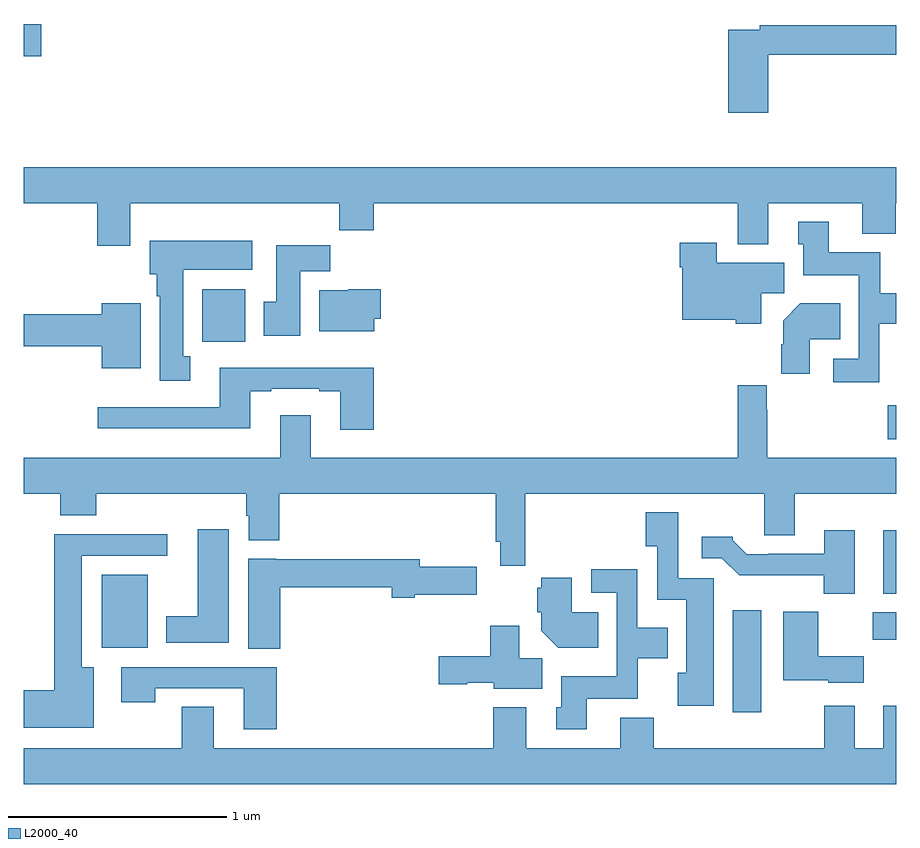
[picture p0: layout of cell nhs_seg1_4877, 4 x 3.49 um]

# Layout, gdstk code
import gdstk
lib = gdstk.Library(unit=1e-6, precision=1e-09)
def R(c, l, rs):  # rectangles x0, y0, x1, y1
    for r in rs: c.add(gdstk.rectangle(r[:2], r[2:], *l))
def P(c, l, *ps):  # polygons
    for p in ps: c.add(gdstk.Polygon(p, *l))
L2000_40 = (2000, 40)

nhs_seg1_4877 = lib.new_cell('nhs_seg1_4877')
R(nhs_seg1_4877, L2000_40, [(378.251,558.72,378.382,559.189), (375.356,559.016,375.568,559.351), (378.894,559.053,379,559.18), (378.941,559.265,379,559.555), (378.962,559.974,379,560.13), (375.818,560.42,376.015,560.662), (375,561.731,375.079,561.878)])
P(nhs_seg1_4877, L2000_40, [(378.413,561.736),(379,561.736),(379,561.872),(378.376,561.872),(378.376,561.852),(378.23,561.852),(378.23,561.471),(378.413,561.471)],
  [(375.487,561.056),(376.447,561.056),(376.447,560.932),(376.604,560.932),(376.604,561.056),(378.275,561.056),(378.275,560.867),(378.415,560.867),(378.415,561.056),(378.845,561.056),(378.845,560.915),(378.998,560.915),(378.998,561.056),(379,561.056),(379,561.22),(375,561.22),(375,561.056),(375.335,561.056),(375.335,560.862),(375.487,560.862)],
  [(378.924,560.504),(379,560.504),(379,560.644),(378.927,560.644),(378.927,560.83),(378.691,560.83),(378.691,560.971),(378.551,560.971),(378.551,560.868),(378.575,560.868),(378.575,560.726),(378.828,560.726),(378.828,560.343),(378.711,560.343),(378.711,560.235),(378.924,560.235)],
  [(375.763,560.354),(375.73,560.354),(375.73,560.75),(376.048,560.75),(376.048,560.884),(375.578,560.884),(375.578,560.73),(375.608,560.73),(375.608,560.63),(375.623,560.63),(375.623,560.241),(375.763,560.241)],
  [(378.382,560.644),(378.487,560.644),(378.487,560.782),(378.178,560.782),(378.178,560.875),(378.008,560.875),(378.008,560.762),(378.02,560.762),(378.02,560.522),(378.264,560.522),(378.264,560.504),(378.382,560.504)],
  [(376.267,560.744),(376.406,560.744),(376.406,560.863),(376.157,560.863),(376.157,560.604),(376.1,560.604),(376.1,560.448),(376.267,560.448)],
  [(376.606,560.526),(376.637,560.526),(376.637,560.662),(376.488,560.662),(376.488,560.656),(376.355,560.656),(376.355,560.468),(376.606,560.468)],
  [(378.604,560.432),(378.743,560.432),(378.743,560.596),(378.56,560.596),(378.482,560.518),(378.482,560.408),(378.473,560.408),(378.473,560.274),(378.604,560.274)],
  [(375.535,560.596),(375.356,560.596),(375.356,560.546),(375,560.546),(375,560.399),(375.356,560.399),(375.356,560.3),(375.535,560.3)],
  [(376.604,560.302),(375.899,560.302),(375.899,560.121),(375.339,560.121),(375.339,560.024),(376.039,560.024),(376.039,560.193),(376.135,560.193),(376.135,560.205),(376.355,560.205),(376.355,560.193),(376.451,560.193),(376.451,560.016),(376.604,560.016)],
  [(377.3,559.724),(378.395,559.724),(378.395,559.534),(378.535,559.534),(378.535,559.724),(379,559.724),(379,559.888),(378.41,559.888),(378.41,560.108),(378.406,560.108),(378.406,560.221),(378.274,560.221),(378.274,559.888),(376.315,559.888),(376.315,560.083),(376.175,560.083),(376.175,559.888),(375,559.888),(375,559.724),(375.167,559.724),(375.167,559.625),(375.332,559.625),(375.332,559.724),(376.019,559.724),(376.019,559.623),(376.031,559.623),(376.031,559.511),(376.172,559.511),(376.172,559.724),(377.164,559.724),(377.164,559.504),(377.184,559.504),(377.184,559.392),(377.3,559.392)],
  [(378.163,559.335),(378,559.335),(378,559.639),(377.852,559.639),(377.852,559.483),(377.904,559.483),(377.904,559.238),(378.038,559.238),(378.038,558.902),(377.999,558.902),(377.999,558.752),(378.163,558.752)],
  [(375.94,559.561),(375.797,559.561),(375.797,559.162),(375.653,559.162),(375.653,559.04),(375.94,559.04)],
  [(378.811,559.555),(378.671,559.555),(378.671,559.449),(378.415,559.449),(378.415,559.446),(378.316,559.446),(378.252,559.51),(378.252,559.525),(378.108,559.525),(378.108,559.428),(378.201,559.428),(378.28,559.35),(378.669,559.35),(378.669,559.265),(378.811,559.265)],
  [(375.319,558.928),(375.265,558.928),(375.265,559.44),(375.658,559.44),(375.658,559.538),(375.14,559.538),(375.14,558.821),(375,558.821),(375,558.65),(375.319,558.65)],
  [(376.175,559.294),(376.688,559.294),(376.688,559.247),(376.792,559.247),(376.792,559.259),(377.077,559.259),(377.077,559.389),(376.816,559.389),(376.816,559.423),(376.158,559.423),(376.158,559.426),(376.028,559.426),(376.028,559.012),(376.175,559.012)],
  [(377.581,558.782),(377.816,558.782),(377.816,558.969),(377.953,558.969),(377.953,559.108),(377.814,559.108),(377.814,559.378),(377.601,559.378),(377.601,559.269),(377.718,559.269),(377.718,558.886),(377.465,558.886),(377.465,558.744),(377.441,558.744),(377.441,558.642),(377.581,558.642)],
  [(377.633,559.18),(377.512,559.18),(377.512,559.338),(377.372,559.338),(377.372,559.293),(377.354,559.293),(377.354,559.179),(377.372,559.179),(377.372,559.094),(377.45,559.016),(377.633,559.016)],
  [(378.853,558.978),(378.644,558.978),(378.644,559.183),(378.482,559.183),(378.482,558.869),(378.69,558.869),(378.69,558.857),(378.853,558.857)],
  [(377.377,558.968),(377.272,558.968),(377.272,559.117),(377.138,559.117),(377.138,558.979),(376.902,558.979),(376.902,558.85),(377.034,558.85),(377.034,558.857),(377.154,558.857),(377.154,558.83),(377.377,558.83)],
  [(376.16,558.927),(375.447,558.927),(375.447,558.768),(375.603,558.768),(375.603,558.831),(376.007,558.831),(376.007,558.642),(376.16,558.642)],
  [(379,558.751),(378.941,558.751),(378.941,558.556),(378.811,558.556),(378.811,558.751),(378.671,558.751),(378.671,558.556),(377.888,558.556),(377.888,558.697),(377.735,558.697),(377.735,558.556),(377.305,558.556),(377.305,558.745),(377.153,558.745),(377.153,558.556),(375.871,558.556),(375.871,558.746),(375.724,558.746),(375.724,558.556),(375,558.556),(375,558.392),(379,558.392)])

lib.write_gds('nhs_seg1_4877.gds')
